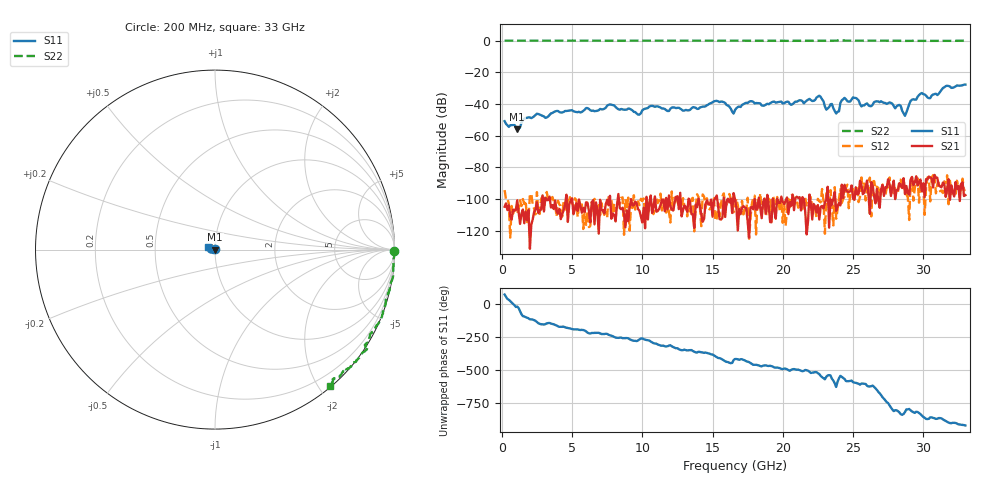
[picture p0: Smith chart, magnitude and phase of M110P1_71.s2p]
# GHZ S RI R 50
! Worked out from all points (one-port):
!   329 points, 200 MHz to 33 GHz, reference 50 ohm
!   lowest |S11| = -56.1 dB at 1.1 GHz (marker M1), VSWR 1.00, Z = 50.1 - j0.0498 ohm
!   |S11| at or under -10 dB: start of sweep to end of sweep
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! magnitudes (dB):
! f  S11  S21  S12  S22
! 200 MHz  -50.9  -105.0  -94.4  0.0
! 1.1 GHz  -56.1  -100.9  -108.8  0.0
! 2.5 GHz  -46.2  -102.2  -95.7  0.0
! 5.7 GHz  -45.1  -108.8  -103.5  0.0
! 11.2 GHz  -41.9  -106.3  -101.1  0.0
! 13.3 GHz  -44.0  -99.8  -101.4  0.0
! 15.3 GHz  -38.1  -97.8  -112.5  0.0
! 16.6 GHz  -43.9  -100.2  -104.9  0.0
! 17.7 GHz  -38.3  -105.4  -112.5  -0.1
! 22.1 GHz  -38.2  -113.0  -105.8  -0.1
! 22.6 GHz  -34.8  -113.1  -101.6  -0.1
! 23.1 GHz  -43.6  -100.7  -96.6  0.0
! 23.5 GHz  -40.0  -103.7  -106.0  -0.1
! 23.8 GHz  -46.1  -107.5  -112.5  0.1
! 24.4 GHz  -36.2  -91.1  -98.7  0.0
! 25.6 GHz  -41.6  -91.2  -86.5  0.0
! 27.6 GHz  -39.1  -90.6  -86.5  0.0
! 28.7 GHz  -47.5  -96.9  -95.5  -0.2
! 29.1 GHz  -38.1  -87.8  -88.9  -0.1
! 29.9 GHz  -33.1  -95.3  -90.1  -0.1
! 30.5 GHz  -36.4  -86.4  -101.6  -0.1
! 33 GHz  -27.8  -97.7  -94.3  0.0
